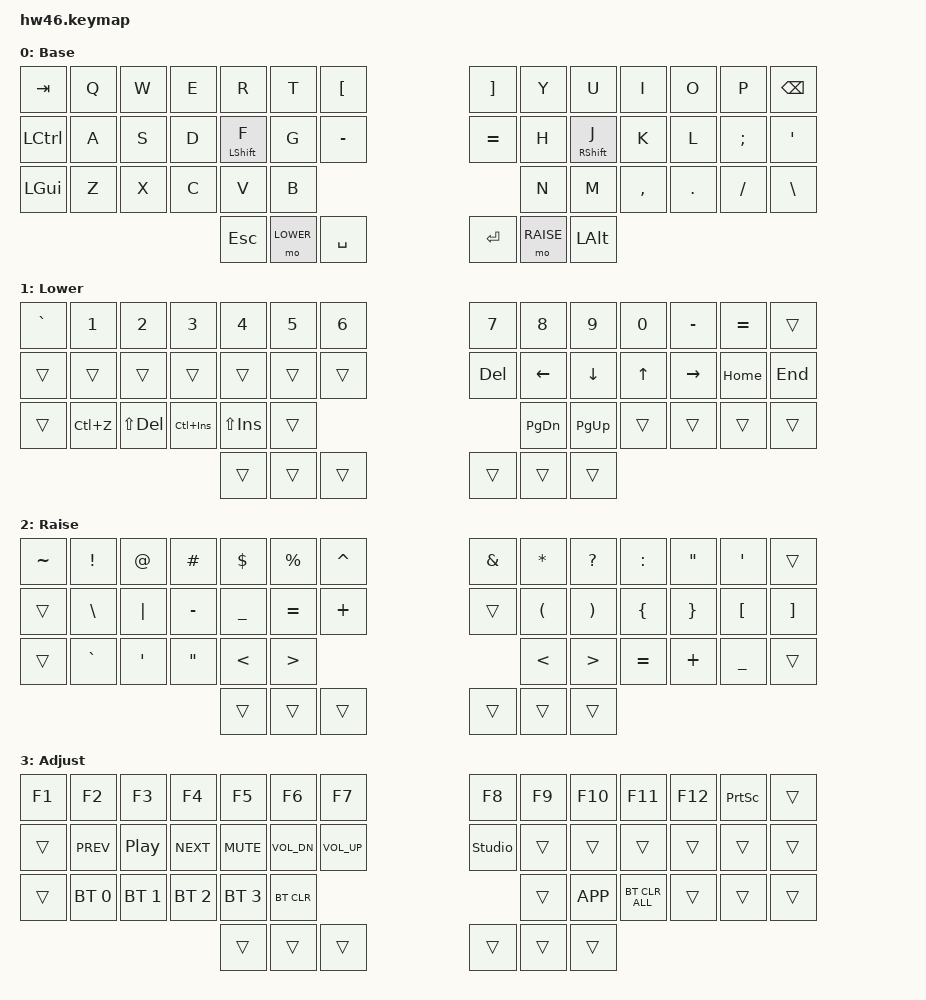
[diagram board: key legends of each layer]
#include <behaviors.dtsi>
#include <dt-bindings/zmk/keys.h>
#include <dt-bindings/zmk/bt.h>

#define BASE   0
#define LOWER  1
#define RAISE  2
#define ADJUST 3

/*
 * HW46 keymap, 46 keys. Position order on every layer (reading order, seen from above):
 *   row 1 left (7), row 1 right (7), row 2 left (7), row 2 right (7),
 *   row 3 left (6), row 3 right (6), thumb left (3), thumb right (3)
 * Left half lists keys outer -> inner, right half lists inner -> outer.
 *
 * Key positions (0-based) used by the home-row Shift:
 *   left half : 0-6, 14-20, 28-33, 40-42
 *   right half: 7-13, 21-27, 34-39, 43-45
 */

/ {
    behaviors {
        /* F: tap = F, hold = Left Shift, but only when the next key is on the RIGHT half */
        hml: homerow_mod_left {
            compatible = "zmk,behavior-hold-tap";
            #binding-cells = <2>;
            flavor = "balanced";
            tapping-term-ms = <220>;
            quick-tap-ms = <175>;
            require-prior-idle-ms = <150>;
            bindings = <&kp>, <&kp>;
            hold-trigger-key-positions = <7 8 9 10 11 12 13 21 22 23 24 25 26 27 34 35 36 37 38 39 43 44 45>;
            hold-trigger-on-release;
        };

        /* J: tap = J, hold = Right Shift, but only when the next key is on the LEFT half */
        hmr: homerow_mod_right {
            compatible = "zmk,behavior-hold-tap";
            #binding-cells = <2>;
            flavor = "balanced";
            tapping-term-ms = <220>;
            quick-tap-ms = <175>;
            require-prior-idle-ms = <150>;
            bindings = <&kp>, <&kp>;
            hold-trigger-key-positions = <0 1 2 3 4 5 6 14 15 16 17 18 19 20 28 29 30 31 32 33 40 41 42>;
            hold-trigger-on-release;
        };
    };

    conditional_layers {
        compatible = "zmk,conditional-layers";
        tri_layer {
            if-layers = <LOWER RAISE>;
            then-layer = <ADJUST>;
        };
    };

    keymap {
        compatible = "zmk,keymap";

        base_layer {
            display-name = "Base";
            bindings = <
                // row 1 left
                &kp TAB         &kp Q           &kp W           &kp E           &kp R           &kp T           &kp LBKT
                // row 1 right
                &kp RBKT        &kp Y           &kp U           &kp I           &kp O           &kp P           &kp BSPC
                // row 2 left
                &kp LCTRL       &kp A           &kp S           &kp D           &hml LSHFT F    &kp G           &kp MINUS
                // row 2 right
                &kp EQUAL       &kp H           &hmr RSHFT J    &kp K           &kp L           &kp SEMI        &kp SQT
                // row 3 left
                &kp LGUI        &kp Z           &kp X           &kp C           &kp V           &kp B
                // row 3 right
                &kp N           &kp M           &kp COMMA       &kp DOT         &kp FSLH        &kp BSLH
                // thumb left
                &kp ESC         &mo LOWER       &kp SPACE
                // thumb right
                &kp RET         &mo RAISE       &kp LALT
            >;
        };

        lower_layer {
            display-name = "Lower";
            bindings = <
                // row 1 left
                &kp GRAVE       &kp N1          &kp N2          &kp N3          &kp N4          &kp N5          &kp N6
                // row 1 right
                &kp N7          &kp N8          &kp N9          &kp N0          &kp MINUS       &kp EQUAL       &trans
                // row 2 left
                &trans          &trans          &trans          &trans          &trans          &trans          &trans
                // row 2 right
                &kp DEL         &kp LEFT        &kp DOWN        &kp UP          &kp RIGHT       &kp HOME        &kp END
                // row 3 left
                &trans          &kp LC(Z)       &kp LS(DEL)     &kp LC(INS)     &kp LS(INS)     &trans
                // row 3 right
                &kp PG_DN       &kp PG_UP       &trans          &trans          &trans          &trans
                // thumb left
                &trans          &trans          &trans
                // thumb right
                &trans          &trans          &trans
            >;
        };

        raise_layer {
            display-name = "Raise";
            bindings = <
                // row 1 left
                &kp TILDE       &kp EXCL        &kp AT          &kp HASH        &kp DLLR        &kp PRCNT       &kp CARET
                // row 1 right
                &kp AMPS        &kp STAR        &kp QMARK       &kp COLON       &kp DQT         &kp SQT         &trans
                // row 2 left
                &trans          &kp BSLH        &kp PIPE        &kp MINUS       &kp UNDER       &kp EQUAL       &kp PLUS
                // row 2 right
                &trans          &kp LPAR        &kp RPAR        &kp LBRC        &kp RBRC        &kp LBKT        &kp RBKT
                // row 3 left
                &trans          &kp GRAVE       &kp SQT         &kp DQT         &kp LT          &kp GT
                // row 3 right
                &kp LT          &kp GT          &kp EQUAL       &kp PLUS        &kp UNDER       &trans
                // thumb left
                &trans          &trans          &trans
                // thumb right
                &trans          &trans          &trans
            >;
        };

        adjust_layer {
            display-name = "Adjust";
            bindings = <
                // row 1 left
                &kp F1          &kp F2          &kp F3          &kp F4          &kp F5          &kp F6          &kp F7
                // row 1 right
                &kp F8          &kp F9          &kp F10         &kp F11         &kp F12         &kp PRINTSCREEN  &trans
                // row 2 left
                &trans          &kp C_PREV      &kp C_PP        &kp C_NEXT      &kp C_MUTE      &kp C_VOL_DN    &kp C_VOL_UP
                // row 2 right
                &studio_unlock  &trans          &trans          &trans          &trans          &trans          &trans
                // row 3 left
                &trans          &bt BT_SEL 0    &bt BT_SEL 1    &bt BT_SEL 2    &bt BT_SEL 3    &bt BT_CLR
                // row 3 right
                &trans          &kp K_APP       &bt BT_CLR_ALL  &trans          &trans          &trans
                // thumb left
                &trans          &trans          &trans
                // thumb right
                &trans          &trans          &trans
            >;
        };

        /* spare layers that ZMK Studio can use */
        extra1 {
            status = "reserved";
        };

        extra2 {
            status = "reserved";
        };
    };
};
